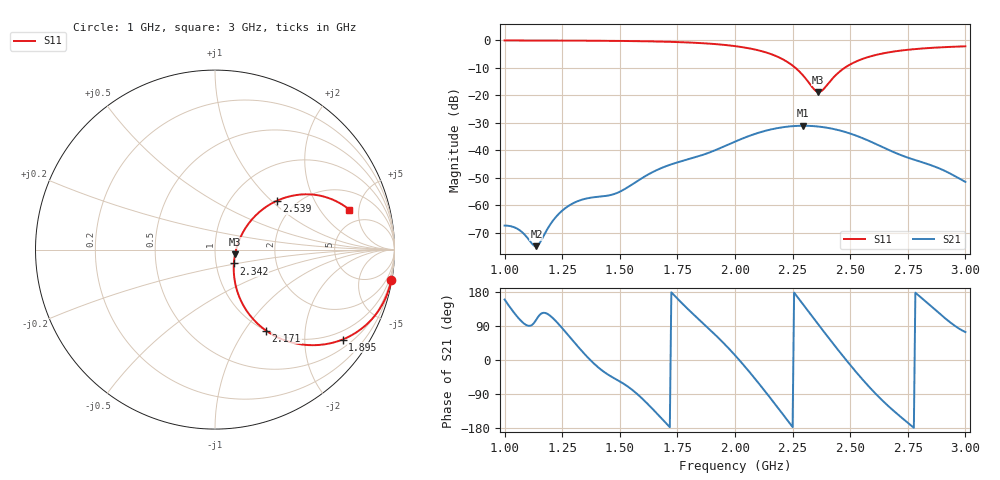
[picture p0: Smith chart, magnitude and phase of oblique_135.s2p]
! TOUCHSTONE file generated by CST MICROWAVE STUDIO
! Date and time: Tue Mar 18 00:02:15 2025
! Project name: oblique.cst
! Parameters = {Tilt=40; Fracture=1; B=10; D=160; F=15; Feed=2.85625; L=100; M=50; R=0.384908; S=1; Theta=270; length=57.125; wave=114.25}
! Header version: 2024
! Port assignment regex: !\s*Touchstone port\s*([0-9]+)\s*=\s*(CST MWS port|CST DES external port|CST DES block port)\s*(.+)\s* \(\"(.*)\"\)(\s*mode\s*([0-9]+))?.*
! Touchstone port assignment:
! Touchstone port 1 = CST MWS port 1 ("")
! Touchstone port 2 = CST MWS port 2 ("")
# GHz S DB R 50
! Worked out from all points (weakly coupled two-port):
!   305 points, 1 GHz to 3 GHz, reference 50 ohm
!   highest |S21| = -31.09 dB at 2.296 GHz (marker M1); lowest = -74.9 dB at 1.138 GHz (marker M2)
!   lowest |S11| = -18.8 dB at 2.362 GHz (marker M3), VSWR 1.26, Z = 62.5 - j3.3 ohm
!   |S11| at or under -10 dB: 2.262 GHz to 2.476 GHz (213.7 MHz wide, 9.02 % of centre)
!   S12 and S22 are empty: the file has one direction only
!   S11 on the Smith chart (normalised r, x): 1 GHz: 0, -12; 1.895 GHz: 0.73, -2.99; 2.171 GHz: 1.00, -1.26; 2.342 GHz: 1.22, -0.19; 2.539 GHz: 1.60, +1.07; 3 GHz: 3.47, +3.94
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1  -0.02 -9.8  -67.45 159.5  -200.00 0.0  -200.00 0.0
1.05921  -0.03 -10.6  -68.81 111.2  -200.00 0.0  -200.00 0.0
1.13816  -0.04 -11.8  -74.95 107.1  -200.00 0.0  -200.00 0.0
1.23684  -0.06 -13.4  -63.03 93.2  -200.00 0.0  -200.00 0.0
1.28289  -0.08 -14.2  -59.99 60.6  -200.00 0.0  -200.00 0.0
1.33553  -0.10 -15.2  -58.02 23.5  -200.00 0.0  -200.00 0.0
1.48684  -0.18 -18.7  -55.61 -52.0  -200.00 0.0  -200.00 0.0
1.67105  -0.42 -24.5  -46.83 -147.6  -200.00 0.0  -200.00 0.0
1.89474  -1.21 -35.2  -40.65 77.8  -200.00 0.0  -200.00 0.0
2  -2.08 -42.5  -36.87 12.6  -200.00 0.0  -200.00 0.0
2.17105  -5.46 -57.8  -32.16 -114.2  -200.00 0.0  -200.00 0.0
2.23684  -8.38 -62.7  -31.33 -166.4  -200.00 0.0  -200.00 0.0
2.29605  -12.82 -59.9  -31.09 146.1  -200.00 0.0  -200.00 0.0
2.33553  -17.04 -42.1  -31.19 114.5  -200.00 0.0  -200.00 0.0
2.34211  -17.70 -36.2  -31.23 109.3  -200.00 0.0  -200.00 0.0
2.36184  -18.81 -13.1  -31.38 93.6  -200.00 0.0  -200.00 0.0
2.38158  -17.98 10.4  -31.58 77.9  -200.00 0.0  -200.00 0.0
2.46053  -10.94 39.8  -32.93 16.5  -200.00 0.0  -200.00 0.0
2.53947  -7.19 38.3  -35.12 -41.6  -200.00 0.0  -200.00 0.0
2.67105  -4.29 30.3  -40.04 -124.7  -200.00 0.0  -200.00 0.0
2.88158  -2.58 20.3  -46.45 125.8  -200.00 0.0  -200.00 0.0
3  -2.16 16.5  -51.54 73.7  -200.00 0.0  -200.00 0.0
